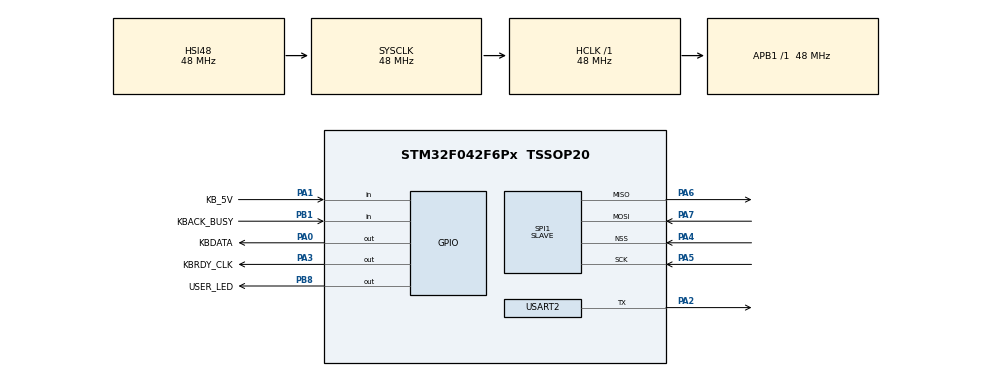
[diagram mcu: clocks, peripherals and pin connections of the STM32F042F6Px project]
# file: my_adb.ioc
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Mcu.Family=STM32F0
Mcu.Name=STM32F042F6Px
Mcu.Package=TSSOP20
NVIC.SPI1_IRQn=true\:0\:0\:false\:false\:true\:true
PA0.GPIO_Label=KBDATA
PA0.GPIO_ModeDefaultOutputPP=GPIO_MODE_OUTPUT_OD
PA0.PinState=GPIO_PIN_SET
PA0.Signal=GPIO_Output
PA1.GPIO_Label=KB_5V
PA1.GPIO_PuPd=GPIO_PULLDOWN
PA1.Signal=GPIO_Input
PA13.Mode=Serial_Wire
PA13.Signal=SYS_SWDIO
PA14.Mode=Serial_Wire
PA14.Signal=SYS_SWCLK
PA2.Mode=Half_duplex(single_wire_mode)
PA2.Signal=USART2_TX
PA3.GPIO_Label=KBRDY_CLK
PA3.GPIO_ModeDefaultOutputPP=GPIO_MODE_OUTPUT_OD
PA3.PinState=GPIO_PIN_SET
PA3.Signal=GPIO_Output
PA4.Mode=NSS_Signal_Hard_Input
PA4.Signal=SPI1_NSS
PA5.Mode=Full_Duplex_Slave
PA5.Signal=SPI1_SCK
PA6.Mode=Full_Duplex_Slave
PA6.Signal=SPI1_MISO
PA7.Mode=Full_Duplex_Slave
PA7.Signal=SPI1_MOSI
PB1.GPIO_Label=KBACK_BUSY
PB1.GPIO_PuPd=GPIO_NOPULL
PB1.Signal=GPIO_Input
PB8.GPIO_Label=USER_LED
PB8.Signal=GPIO_Output
ProjectManager.HeapSize=0x200
ProjectManager.StackSize=0x400
ProjectManager.TargetToolchain=MDK-ARM V5
RCC.AHBFreq_Value=48000000
RCC.APB1Freq_Value=48000000
RCC.APB1TimFreq_Value=48000000
RCC.HCLKFreq_Value=48000000
RCC.I2c1ClockSelection=RCC_I2C1CLKSOURCE_SYSCLK
RCC.SYSCLKFreq_VALUE=48000000
RCC.SYSCLKSource=RCC_SYSCLKSOURCE_HSI48
SPI1.DataSize=SPI_DATASIZE_8BIT
SPI1.Direction=SPI_DIRECTION_2LINES
SPI1.Mode=SPI_MODE_SLAVE
SPI1.VirtualNSS=VM_NSSHARD
SPI1.VirtualType=VM_SLAVE
TIM2.Period=4294967295
TIM2.Prescaler=47
USART2.BaudRate=115200
USART2.Mode=MODE_TX
USART2.VirtualMode-Half_duplex(single_wire_mode)=VM_ASYNC
VP_TIM2_VS_ClockSourceINT.Mode=Internal
board=custom

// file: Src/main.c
/**
  ******************************************************************************
  * @file           : main.c
  * @brief          : Main program body
  ******************************************************************************
  ** This notice applies to any and all portions of this file
  * that are not between comment pairs USER CODE BEGIN and
  * USER CODE END. Other portions of this file, whether
  * inserted by the user or by software development tools
  * are owned by their respective copyright owners.
  *
  * COPYRIGHT(c) 2022 STMicroelectronics
  *
  * Redistribution and use in source and binary forms, with or without modification,
  * are permitted provided that the following conditions are met:
  *   1. Redistributions of source code must retain the above copyright notice,
  *      this list of conditions and the following disclaimer.
  *   2. Redistributions in binary form must reproduce the above copyright notice,
  *      this list of conditions and the following disclaimer in the documentation
  *      and/or other materials provided with the distribution.
  *   3. Neither the name of STMicroelectronics nor the names of its contributors
  *      may be used to endorse or promote products derived from this software
  *      without specific prior written permission.
  *
  * THIS SOFTWARE IS PROVIDED BY THE COPYRIGHT HOLDERS AND CONTRIBUTORS "AS IS"
  * AND ANY EXPRESS OR IMPLIED WARRANTIES, INCLUDING, BUT NOT LIMITED TO, THE
  * IMPLIED WARRANTIES OF MERCHANTABILITY AND FITNESS FOR A PARTICULAR PURPOSE ARE
  * DISCLAIMED. IN NO EVENT SHALL THE COPYRIGHT HOLDER OR CONTRIBUTORS BE LIABLE
  * FOR ANY DIRECT, INDIRECT, INCIDENTAL, SPECIAL, EXEMPLARY, OR CONSEQUENTIAL
  * DAMAGES (INCLUDING, BUT NOT LIMITED TO, PROCUREMENT OF SUBSTITUTE GOODS OR
  * SERVICES; LOSS OF USE, DATA, OR PROFITS; OR BUSINESS INTERRUPTION) HOWEVER
  * CAUSED AND ON ANY THEORY OF LIABILITY, WHETHER IN CONTRACT, STRICT LIABILITY,
  * OR TORT (INCLUDING NEGLIGENCE OR OTHERWISE) ARISING IN ANY WAY OUT OF THE USE
  * OF THIS SOFTWARE, EVEN IF ADVISED OF THE POSSIBILITY OF SUCH DAMAGE.
  *
  ******************************************************************************
  */
#include "main.h"
#include "stm32f0xx_hal.h"

/* USER CODE BEGIN Includes */
#include <string.h>
#include <stdlib.h>
#include "delay_us.h"
#include "shared.h"
#include "helpers.h"

#define PROTOCOL_STATUS_NOT_AVAILABLE 0
#define PROTOCOL_STATUS_ENABLED 1
#define PROTOCOL_STATUS_DISABLED 2
#define PROTOCOL_LOOKUP_SIZE 16

/* USER CODE END Includes */

SPI_HandleTypeDef hspi1;

TIM_HandleTypeDef htim2;

UART_HandleTypeDef huart2;

/* USER CODE BEGIN PV */
/* Private variables ---------------------------------------------------------*/
const uint8_t board_id = 5;
const uint8_t version_major = 0;
const uint8_t version_minor = 0;
const uint8_t version_patch = 1;

uint8_t spi_transmit_buf[SPI_BUF_SIZE];
uint8_t spi_recv_buf[SPI_BUF_SIZE];
kb_buf my_kb_buf;
uint8_t spi_error_occured;
uint8_t protocol_status_lookup[PROTOCOL_LOOKUP_SIZE];
uint32_t led_off_after;
/* USER CODE END PV */

void SystemClock_Config(void);
static void MX_GPIO_Init(void);
static void MX_SPI1_Init(void);
static void MX_USART2_UART_Init(void);
static void MX_TIM2_Init(void);

/* USER CODE BEGIN PFP */
/* Private function prototypes -----------------------------------------------*/

/* USER CODE END PFP */

/* USER CODE BEGIN 0 */
int fputc(int ch, FILE *f)
{
    HAL_UART_Transmit(&huart2, (unsigned char *)&ch, 1, 10);
    return ch;
}

uint8_t is_protocol_enabled(uint8_t this_protocol)
{
  if(this_protocol >= PROTOCOL_LOOKUP_SIZE)
    return 0;
  return protocol_status_lookup[this_protocol] == PROTOCOL_STATUS_ENABLED;
}

int16_t byte_to_int16_t(uint8_t lsb, uint8_t msb)
{
  return (int16_t)((msb << 8) | lsb);
}

void handle_protocol_switch(uint8_t spi_byte)
{
  uint8_t index = spi_byte & 0x7f;
  uint8_t onoff = spi_byte & 0x80;

  if(index >= PROTOCOL_LOOKUP_SIZE)
    return;
  // trying to change a protocol that is not available on this board
  if(protocol_status_lookup[index] == PROTOCOL_STATUS_NOT_AVAILABLE)
    return;
  // switching protocol ON
  if(onoff && protocol_status_lookup[index] == PROTOCOL_STATUS_DISABLED)
  {
    switch(index)
    {
      case PROTOCOL_SIRIUS1_KB:
        kb_buf_reset(&my_kb_buf);
        break;
    }
    protocol_status_lookup[index] = PROTOCOL_STATUS_ENABLED;
  }
  // switching protocol OFF
  else if((onoff == 0) && protocol_status_lookup[index] == PROTOCOL_STATUS_ENABLED)
    protocol_status_lookup[index] = PROTOCOL_STATUS_DISABLED;
}

void HAL_SPI_TxRxCpltCallback(SPI_HandleTypeDef *hspi)
{
  HAL_GPIO_WritePin(USER_LED_GPIO_Port, USER_LED_Pin, GPIO_PIN_SET);
  led_off_after = HAL_GetTick() + 30;
  if(spi_recv_buf[0] != 0xde)
    spi_error_occured = 1;

  if(spi_recv_buf[SPI_BUF_INDEX_MSG_TYPE] == SPI_MOSI_MSG_TYPE_KEYBOARD_EVENT)
  {
    kb_buf_add(&my_kb_buf, spi_recv_buf[4], spi_recv_buf[6]);
  }
  else if(spi_recv_buf[SPI_BUF_INDEX_MSG_TYPE] == SPI_MOSI_MSG_TYPE_INFO_REQUEST)
  {
    memset(spi_transmit_buf, 0, SPI_BUF_SIZE);
    spi_transmit_buf[SPI_BUF_INDEX_MAGIC] = SPI_MISO_MAGIC;
    spi_transmit_buf[SPI_BUF_INDEX_SEQNUM] = spi_recv_buf[SPI_BUF_INDEX_SEQNUM];
    spi_transmit_buf[SPI_BUF_INDEX_MSG_TYPE] = SPI_MISO_MSG_TYPE_INFO_REQUEST;
    spi_transmit_buf[3] = board_id;
    spi_transmit_buf[5] = version_major;
    spi_transmit_buf[6] = version_minor;
    spi_transmit_buf[7] = version_patch;
    uint8_t curr_index = 8;
    for (int i = 0; i < PROTOCOL_LOOKUP_SIZE; i++)
    {
      if(protocol_status_lookup[i] == PROTOCOL_STATUS_NOT_AVAILABLE)
        continue;
      else if(protocol_status_lookup[i] == PROTOCOL_STATUS_DISABLED)
        spi_transmit_buf[curr_index] = i;
      else if(protocol_status_lookup[i] == PROTOCOL_STATUS_ENABLED)
        spi_transmit_buf[curr_index] = i | 0x80;
      curr_index++;
    }
  }
  HAL_SPI_TransmitReceive_IT(&hspi1, spi_transmit_buf, spi_recv_buf, SPI_BUF_SIZE);
}

void spi_error_dump_reboot(void)
{
  printf("SPI ERROR\n");
  for (int i = 0; i < SPI_BUF_SIZE; ++i)
    printf("%d ", spi_recv_buf[i]);
  printf("\nrebooting...\n");
  for (int i = 0; i < 100; ++i)
  {
    HAL_GPIO_TogglePin(USER_LED_GPIO_Port, USER_LED_Pin);
    HAL_Delay(100);
  }
  NVIC_SystemReset();
}

const char boot_message[] = "USB4VC Protocol Card\nTRS-80 Model II\ndekuNukem 2022";

void protocol_status_lookup_init(void)
{
  memset(protocol_status_lookup, PROTOCOL_STATUS_NOT_AVAILABLE, PROTOCOL_LOOKUP_SIZE);
  protocol_status_lookup[PROTOCOL_SIRIUS1_KB] = PROTOCOL_STATUS_ENABLED;
}

#define EV_LOOKUP_SIZE 128
#define KEY_UNUSED 126

const uint8_t linux_ev_to_sirius1_lookup[EV_LOOKUP_SIZE] =
{
  KEY_UNUSED, // EV0 KEY_RESERVED
  0xb, // EV1 KEY_ESC
  0xd, // EV2 KEY_1
  0xe, // EV3 KEY_2
  0xf, // EV4 KEY_3
  0x10, // EV5 KEY_4
  0x11, // EV6 KEY_5
  0x12, // EV7 KEY_6
  0x13, // EV8 KEY_7
  0x14, // EV9 KEY_8
  0x15, // EV10 KEY_9
  0x16, // EV11 KEY_0
  0x17, // EV12 KEY_MINUS
  0x18, // EV13 KEY_EQUAL
  0x19, // EV14 KEY_BACKSPACE
  0x21, // EV15 KEY_TAB
  0x22, // EV16 KEY_Q
  0x23, // EV17 KEY_W
  0x24, // EV18 KEY_E
  0x25, // EV19 KEY_R
  0x26, // EV20 KEY_T
  0x27, // EV21 KEY_Y
  0x28, // EV22 KEY_U
  0x29, // EV23 KEY_I
  0x2a, // EV24 KEY_O
  0x2b, // EV25 KEY_P
  0x2c, // EV26 KEY_LEFTBRACE
  0x2d, // EV27 KEY_RIGHTBRACE
  0x57, // EV28 KEY_ENTER
  0x61, // EV29 KEY_LEFTCTRL
  0x37, // EV30 KEY_A
  0x38, // EV31 KEY_S
  0x39, // EV32 KEY_D
  0x3a, // EV33 KEY_F
  0x3b, // EV34 KEY_G
  0x3c, // EV35 KEY_H
  0x3d, // EV36 KEY_J
  0x3e, // EV37 KEY_K
  0x3f, // EV38 KEY_L
  0x40, // EV39 KEY_SEMICOLON
  0x41, // EV40 KEY_APOSTROPHE
  KEY_UNUSED, // EV41 KEY_GRAVE
  0x4a, // EV42 KEY_LEFTSHIFT
  0x4b, // EV43 KEY_BACKSLASH
  0x4c, // EV44 KEY_Z
  0x4d, // EV45 KEY_X
  0x4e, // EV46 KEY_C
  0x4f, // EV47 KEY_V
  0x50, // EV48 KEY_B
  0x51, // EV49 KEY_N
  0x52, // EV50 KEY_M
  0x53, // EV51 KEY_COMMA
  0x54, // EV52 KEY_DOT
  0x55, // EV53 KEY_SLASH
  0x56, // EV54 KEY_RIGHTSHIFT
  0x1f, // EV55 KEY_KPASTERISK
  0x5f, // EV56 KEY_LEFTALT
  0x60, // EV57 KEY_SPACE
  0x36, // EV58 KEY_CAPSLOCK
  0x1, // EV59 KEY_F1
  0x2, // EV60 KEY_F2
  0x3, // EV61 KEY_F3
  0x4, // EV62 KEY_F4
  0x5, // EV63 KEY_F5
  0x6, // EV64 KEY_F6
  0x7, // EV65 KEY_F7
  0x8, // EV66 KEY_F8
  KEY_UNUSED, // EV67 KEY_F9
  KEY_UNUSED, // EV68 KEY_F10
  0x1c, // EV69 KEY_NUMLOCK
  KEY_UNUSED, // EV70 KEY_SCROLLLOCK
  0x31, // EV71 KEY_KP7
  0x32, // EV72 KEY_KP8
  0x33, // EV73 KEY_KP9
  0x34, // EV74 KEY_KPMINUS
  0x45, // EV75 KEY_KP4
  0x46, // EV76 KEY_KP5
  0x47, // EV77 KEY_KP6
  0x48, // EV78 KEY_KPPLUS
  0x5a, // EV79 KEY_KP1
  0x5b, // EV80 KEY_KP2
  0x5c, // EV81 KEY_KP3
  0x64, // EV82 KEY_KP0
  0x66, // EV83 KEY_KPDOT
  KEY_UNUSED, // EV84 UNKNOWN
  KEY_UNUSED, // EV85 KEY_ZENKAKUHANKAKU
  KEY_UNUSED, // EV86 KEY_102ND
  KEY_UNUSED, // EV87 KEY_F11
  KEY_UNUSED, // EV88 KEY_F12
  KEY_UNUSED, // EV89 KEY_RO
  KEY_UNUSED, // EV90 KEY_KATAKANA
  KEY_UNUSED, // EV91 KEY_HIRAGANA
  KEY_UNUSED, // EV92 KEY_HENKAN
  KEY_UNUSED, // EV93 KEY_KATAKANAHIRAGANA
  KEY_UNUSED, // EV94 KEY_MUHENKAN
  KEY_UNUSED, // EV95 KEY_KPJPCOMMA
  0x5d, // EV96 KEY_KPENTER
  0x61, // EV97 KEY_RIGHTCTRL
  KEY_UNUSED, // EV98 KEY_KPSLASH
  KEY_UNUSED, // EV99 KEY_SYSRQ
  0x5f, // EV100 KEY_RIGHTALT
  KEY_UNUSED, // EV101 KEY_LINEFEED
  KEY_UNUSED, // EV102 KEY_HOME
  88, // EV103 KEY_UP
  KEY_UNUSED, // EV104 KEY_PAGEUP
  0x62, // EV105 KEY_LEFT
  99, // EV106 KEY_RIGHT
  KEY_UNUSED, // EV107 KEY_END
  0x59, // EV108 KEY_DOWN
  KEY_UNUSED, // EV109 KEY_PAGEDOWN
  47, // EV110 KEY_INSERT
  27, // EV111 KEY_DELETE
  KEY_UNUSED, // EV112 KEY_MACRO
  KEY_UNUSED, // EV113 KEY_MUTE
  KEY_UNUSED, // EV114 KEY_VOLUMEDOWN
  KEY_UNUSED, // EV115 KEY_VOLUMEUP
  KEY_UNUSED, // EV116 KEY_POWER
  KEY_UNUSED, // EV117 KEY_KPEQUAL
  KEY_UNUSED, // EV118 KEY_KPPLUSMINUS
  KEY_UNUSED, // EV119 KEY_PAUSE
  KEY_UNUSED, // EV120 KEY_SCALE
  KEY_UNUSED, // EV121 KEY_KPCOMMA
  KEY_UNUSED, // EV122 KEY_HANGEUL
  KEY_UNUSED, // EV123 KEY_HANJA
  KEY_UNUSED, // EV124 KEY_YEN
  KEY_UNUSED, // EV125 KEY_LEFTMETA
  KEY_UNUSED, // EV126 KEY_RIGHTMETA
  KEY_UNUSED, // EV127 KEY_COMPOSE
};

#define KB_WRITE_SUCCESS 0
#define KB_WRITE_TIMEOUT 1
#define KB_WRITE_ERROR 2
#define SIRIUS_1_KB_BIT_ACK_TIMEOUT_MS 20

void sirius1_release_kb_line(void)
{
  HAL_GPIO_WritePin(KBDATA_GPIO_Port, KBDATA_Pin, GPIO_PIN_SET);
  HAL_GPIO_WritePin(KBRDY_CLK_GPIO_Port, KBRDY_CLK_Pin, GPIO_PIN_SET);
}

uint8_t sirius1_wait_for_KBACK(uint8_t level)
{
  // return KB_WRITE_SUCCESS;
  uint32_t entry_time = HAL_GetTick();
  while(1)
  {
    if(HAL_GPIO_ReadPin(KBACK_BUSY_GPIO_Port, KBACK_BUSY_Pin) == level)
      return KB_WRITE_SUCCESS;
    if(HAL_GetTick() - entry_time > SIRIUS_1_KB_BIT_ACK_TIMEOUT_MS)
      return KB_WRITE_TIMEOUT;
  }
  return KB_WRITE_ERROR;
}

uint8_t sirius1_write_stop_bit()
{
  HAL_GPIO_WritePin(KBDATA_GPIO_Port, KBDATA_Pin, GPIO_PIN_RESET);
  HAL_GPIO_WritePin(KBRDY_CLK_GPIO_Port, KBRDY_CLK_Pin, GPIO_PIN_RESET);
  if(sirius1_wait_for_KBACK(GPIO_PIN_RESET) != KB_WRITE_SUCCESS)
    return KB_WRITE_TIMEOUT;
  HAL_GPIO_WritePin(KBDATA_GPIO_Port, KBDATA_Pin, GPIO_PIN_SET);
  HAL_GPIO_WritePin(KBRDY_CLK_GPIO_Port, KBRDY_CLK_Pin, GPIO_PIN_SET);
  HAL_Delay(1);
  if(sirius1_wait_for_KBACK(GPIO_PIN_SET) != KB_WRITE_SUCCESS)
    return KB_WRITE_TIMEOUT;
  return KB_WRITE_SUCCESS;
}

uint8_t sirius1_write_bit(uint8_t bit)
{
  HAL_GPIO_WritePin(KBDATA_GPIO_Port, KBDATA_Pin, bit);
  HAL_GPIO_WritePin(KBRDY_CLK_GPIO_Port, KBRDY_CLK_Pin, GPIO_PIN_RESET);
  if(sirius1_wait_for_KBACK(GPIO_PIN_RESET) != KB_WRITE_SUCCESS)
    return KB_WRITE_TIMEOUT;
  delay_us(400);
  HAL_GPIO_WritePin(KBRDY_CLK_GPIO_Port, KBRDY_CLK_Pin, GPIO_PIN_SET);
  if(sirius1_wait_for_KBACK(GPIO_PIN_SET) != KB_WRITE_SUCCESS)
    return KB_WRITE_TIMEOUT;
  delay_us(400);
  return KB_WRITE_SUCCESS;
}

uint8_t get_bit(uint8_t x, uint8_t n)
{
  return (x & (1 << n)) ? 1 : 0;
}

uint8_t sirius1_send_key(uint8_t key_code, uint8_t key_status)
{
  if(key_code == KEY_UNUSED)
    return KB_WRITE_SUCCESS;
  key_code &= 0x7f;
  if(key_status)
    key_code |= 0x80;
  for (int i = 0; i < 8; ++i)
    sirius1_write_bit(get_bit(key_code, i));
  sirius1_write_stop_bit();
  sirius1_release_kb_line();
  return KB_WRITE_SUCCESS;
}

void trs80m2_release_kb_line(void)
{
  HAL_GPIO_WritePin(KBDATA_GPIO_Port, KBDATA_Pin, GPIO_PIN_SET);
  HAL_GPIO_WritePin(KBRDY_CLK_GPIO_Port, KBRDY_CLK_Pin, GPIO_PIN_RESET);
}

uint8_t trs80m2_write_bit(uint8_t bit)
{
  HAL_GPIO_WritePin(KBDATA_GPIO_Port, KBDATA_Pin, bit);
  delay_us(81);
  HAL_GPIO_WritePin(KBRDY_CLK_GPIO_Port, KBRDY_CLK_Pin, GPIO_PIN_SET);
  delay_us(54);
  HAL_GPIO_WritePin(KBDATA_GPIO_Port, KBDATA_Pin, GPIO_PIN_SET);
  delay_us(54);
  HAL_GPIO_WritePin(KBRDY_CLK_GPIO_Port, KBRDY_CLK_Pin, GPIO_PIN_RESET);
  delay_us(200);
  return KB_WRITE_SUCCESS;
}

uint8_t trs80m2_write_stop_bit(void)
{
  HAL_GPIO_WritePin(KBDATA_GPIO_Port, KBDATA_Pin, GPIO_PIN_RESET);
  delay_us(54);
  HAL_GPIO_WritePin(KBDATA_GPIO_Port, KBDATA_Pin, GPIO_PIN_SET);
  delay_us(54);
  return KB_WRITE_SUCCESS;
}

void write_z(void)
{
  trs80m2_write_bit(0);
  trs80m2_write_bit(1);
  trs80m2_write_bit(0);
  trs80m2_write_bit(1);

  trs80m2_write_bit(1);
  trs80m2_write_bit(1);
  trs80m2_write_bit(1);
  trs80m2_write_bit(0);

  trs80m2_write_stop_bit();
}

/* USER CODE END 0 */

int main(void)
{

  /* MCU Configuration----------------------------------------------------------*/

  /* Reset of all peripherals, Initializes the Flash interface and the Systick. */
  HAL_Init();

  /* Configure the system clock */
  SystemClock_Config();

  /* Initialize all configured peripherals */
  MX_GPIO_Init();
  MX_SPI1_Init();
  MX_USART2_UART_Init();
  MX_TIM2_Init();
  /* USER CODE BEGIN 2 */
  printf("%s v%d.%d.%d\n", boot_message, version_major, version_minor, version_patch);
  delay_us_init(&htim2);
  protocol_status_lookup_init();
  kb_buf_init(&my_kb_buf);
  memset(spi_transmit_buf, 0, SPI_BUF_SIZE);
  HAL_SPI_TransmitReceive_IT(&hspi1, spi_transmit_buf, spi_recv_buf, SPI_BUF_SIZE);
  /* USER CODE END 2 */

  /* Infinite loop */
  /* USER CODE BEGIN WHILE */
  uint8_t buffered_code, buffered_value;
  trs80m2_release_kb_line();

  while (1)
  {
    if(spi_error_occured)
      spi_error_dump_reboot();
    if(HAL_GetTick() > led_off_after)
      HAL_GPIO_WritePin(USER_LED_GPIO_Port, USER_LED_Pin, GPIO_PIN_RESET);

    if(HAL_GPIO_ReadPin(KBACK_BUSY_GPIO_Port, KBACK_BUSY_Pin) == GPIO_PIN_SET)
      write_z();

    HAL_Delay(1000);

  /* USER CODE END WHILE */

  /* USER CODE BEGIN 3 */
    // if(kb_buf_peek(&my_kb_buf, &buffered_code, &buffered_value) == 0)
    // {
    //   if(buffered_code < EV_LOOKUP_SIZE && buffered_value != 2)
    //     sirius1_send_key(linux_ev_to_sirius1_lookup[buffered_code], buffered_value);
    //   kb_buf_pop(&my_kb_buf);
    // }
  }
  /* USER CODE END 3 */

}

void SystemClock_Config(void)
{

  RCC_OscInitTypeDef RCC_OscInitStruct;
  RCC_ClkInitTypeDef RCC_ClkInitStruct;

    /**Initializes the CPU, AHB and APB busses clocks
    */
  RCC_OscInitStruct.OscillatorType = RCC_OSCILLATORTYPE_HSI48;
  RCC_OscInitStruct.HSI48State = RCC_HSI48_ON;
  RCC_OscInitStruct.PLL.PLLState = RCC_PLL_NONE;
  if (HAL_RCC_OscConfig(&RCC_OscInitStruct) != HAL_OK)
  {
    _Error_Handler(__FILE__, __LINE__);
  }

    /**Initializes the CPU, AHB and APB busses clocks
    */
  RCC_ClkInitStruct.ClockType = RCC_CLOCKTYPE_HCLK|RCC_CLOCKTYPE_SYSCLK
                              |RCC_CLOCKTYPE_PCLK1;
  RCC_ClkInitStruct.SYSCLKSource = RCC_SYSCLKSOURCE_HSI48;
  RCC_ClkInitStruct.AHBCLKDivider = RCC_SYSCLK_DIV1;
  RCC_ClkInitStruct.APB1CLKDivider = RCC_HCLK_DIV1;

  if (HAL_RCC_ClockConfig(&RCC_ClkInitStruct, FLASH_LATENCY_1) != HAL_OK)
  {
    _Error_Handler(__FILE__, __LINE__);
  }

    /**Configure the Systick interrupt time
    */
  HAL_SYSTICK_Config(HAL_RCC_GetHCLKFreq()/1000);

    /**Configure the Systick
    */
  HAL_SYSTICK_CLKSourceConfig(SYSTICK_CLKSOURCE_HCLK);

  /* SysTick_IRQn interrupt configuration */
  HAL_NVIC_SetPriority(SysTick_IRQn, 0, 0);
}

/* SPI1 init function */
static void MX_SPI1_Init(void)
{

  /* SPI1 parameter configuration*/
  hspi1.Instance = SPI1;
  hspi1.Init.Mode = SPI_MODE_SLAVE;
  hspi1.Init.Direction = SPI_DIRECTION_2LINES;
  hspi1.Init.DataSize = SPI_DATASIZE_8BIT;
  hspi1.Init.CLKPolarity = SPI_POLARITY_LOW;
  hspi1.Init.CLKPhase = SPI_PHASE_1EDGE;
  hspi1.Init.NSS = SPI_NSS_HARD_INPUT;
  hspi1.Init.FirstBit = SPI_FIRSTBIT_MSB;
  hspi1.Init.TIMode = SPI_TIMODE_DISABLE;
  hspi1.Init.CRCCalculation = SPI_CRCCALCULATION_DISABLE;
  hspi1.Init.CRCPolynomial = 7;
  hspi1.Init.CRCLength = SPI_CRC_LENGTH_DATASIZE;
  hspi1.Init.NSSPMode = SPI_NSS_PULSE_DISABLE;
  if (HAL_SPI_Init(&hspi1) != HAL_OK)
  {
    _Error_Handler(__FILE__, __LINE__);
  }

}

/* TIM2 init function */
static void MX_TIM2_Init(void)
{

  TIM_ClockConfigTypeDef sClockSourceConfig;
  TIM_MasterConfigTypeDef sMasterConfig;

  htim2.Instance = TIM2;
  htim2.Init.Prescaler = 47;
  htim2.Init.CounterMode = TIM_COUNTERMODE_UP;
  htim2.Init.Period = 4294967295;
  htim2.Init.ClockDivision = TIM_CLOCKDIVISION_DIV1;
  htim2.Init.AutoReloadPreload = TIM_AUTORELOAD_PRELOAD_DISABLE;
  if (HAL_TIM_Base_Init(&htim2) != HAL_OK)
  {
    _Error_Handler(__FILE__, __LINE__);
  }

  sClockSourceConfig.ClockSource = TIM_CLOCKSOURCE_INTERNAL;
  if (HAL_TIM_ConfigClockSource(&htim2, &sClockSourceConfig) != HAL_OK)
  {
    _Error_Handler(__FILE__, __LINE__);
  }

  sMasterConfig.MasterOutputTrigger = TIM_TRGO_RESET;
  sMasterConfig.MasterSlaveMode = TIM_MASTERSLAVEMODE_DISABLE;
  if (HAL_TIMEx_MasterConfigSynchronization(&htim2, &sMasterConfig) != HAL_OK)
  {
    _Error_Handler(__FILE__, __LINE__);
  }

}

/* USART2 init function */
static void MX_USART2_UART_Init(void)
{

  huart2.Instance = USART2;
  huart2.Init.BaudRate = 115200;
  huart2.Init.WordLength = UART_WORDLENGTH_8B;
  huart2.Init.StopBits = UART_STOPBITS_1;
  huart2.Init.Parity = UART_PARITY_NONE;
  huart2.Init.Mode = UART_MODE_TX;
  huart2.Init.HwFlowCtl = UART_HWCONTROL_NONE;
  huart2.Init.OverSampling = UART_OVERSAMPLING_16;
  huart2.Init.OneBitSampling = UART_ONE_BIT_SAMPLE_DISABLE;
  huart2.AdvancedInit.AdvFeatureInit = UART_ADVFEATURE_NO_INIT;
  if (HAL_HalfDuplex_Init(&huart2) != HAL_OK)
  {
    _Error_Handler(__FILE__, __LINE__);
  }

}

/** Configure pins as
        * Analog
        * Input
        * Output
        * EVENT_OUT
        * EXTI
*/
static void MX_GPIO_Init(void)
{

  GPIO_InitTypeDef GPIO_InitStruct;

  /* GPIO Ports Clock Enable */
  __HAL_RCC_GPIOB_CLK_ENABLE();
  __HAL_RCC_GPIOA_CLK_ENABLE();

  /*Configure GPIO pin Output Level */
  HAL_GPIO_WritePin(USER_LED_GPIO_Port, USER_LED_Pin, GPIO_PIN_RESET);

  /*Configure GPIO pin Output Level */
  HAL_GPIO_WritePin(GPIOA, KBDATA_Pin|KBRDY_CLK_Pin, GPIO_PIN_SET);

  /*Configure GPIO pin : USER_LED_Pin */
  GPIO_InitStruct.Pin = USER_LED_Pin;
  GPIO_InitStruct.Mode = GPIO_MODE_OUTPUT_PP;
  GPIO_InitStruct.Pull = GPIO_NOPULL;
  GPIO_InitStruct.Speed = GPIO_SPEED_FREQ_LOW;
  HAL_GPIO_Init(USER_LED_GPIO_Port, &GPIO_InitStruct);

  /*Configure GPIO pins : KBDATA_Pin KBRDY_CLK_Pin */
  GPIO_InitStruct.Pin = KBDATA_Pin|KBRDY_CLK_Pin;
  GPIO_InitStruct.Mode = GPIO_MODE_OUTPUT_OD;
  GPIO_InitStruct.Pull = GPIO_NOPULL;
  GPIO_InitStruct.Speed = GPIO_SPEED_FREQ_LOW;
  HAL_GPIO_Init(GPIOA, &GPIO_InitStruct);

  /*Configure GPIO pin : KB_5V_Pin */
  GPIO_InitStruct.Pin = KB_5V_Pin;
  GPIO_InitStruct.Mode = GPIO_MODE_INPUT;
  GPIO_InitStruct.Pull = GPIO_PULLDOWN;
  HAL_GPIO_Init(KB_5V_GPIO_Port, &GPIO_InitStruct);

  /*Configure GPIO pin : KBACK_BUSY_Pin */
  GPIO_InitStruct.Pin = KBACK_BUSY_Pin;
  GPIO_InitStruct.Mode = GPIO_MODE_INPUT;
  GPIO_InitStruct.Pull = GPIO_NOPULL;
  HAL_GPIO_Init(KBACK_BUSY_GPIO_Port, &GPIO_InitStruct);

}

void _Error_Handler(char *file, int line)
{
  while(1)
  {
  }
}

/************************ (C) COPYRIGHT STMicroelectronics *****END OF FILE****/
